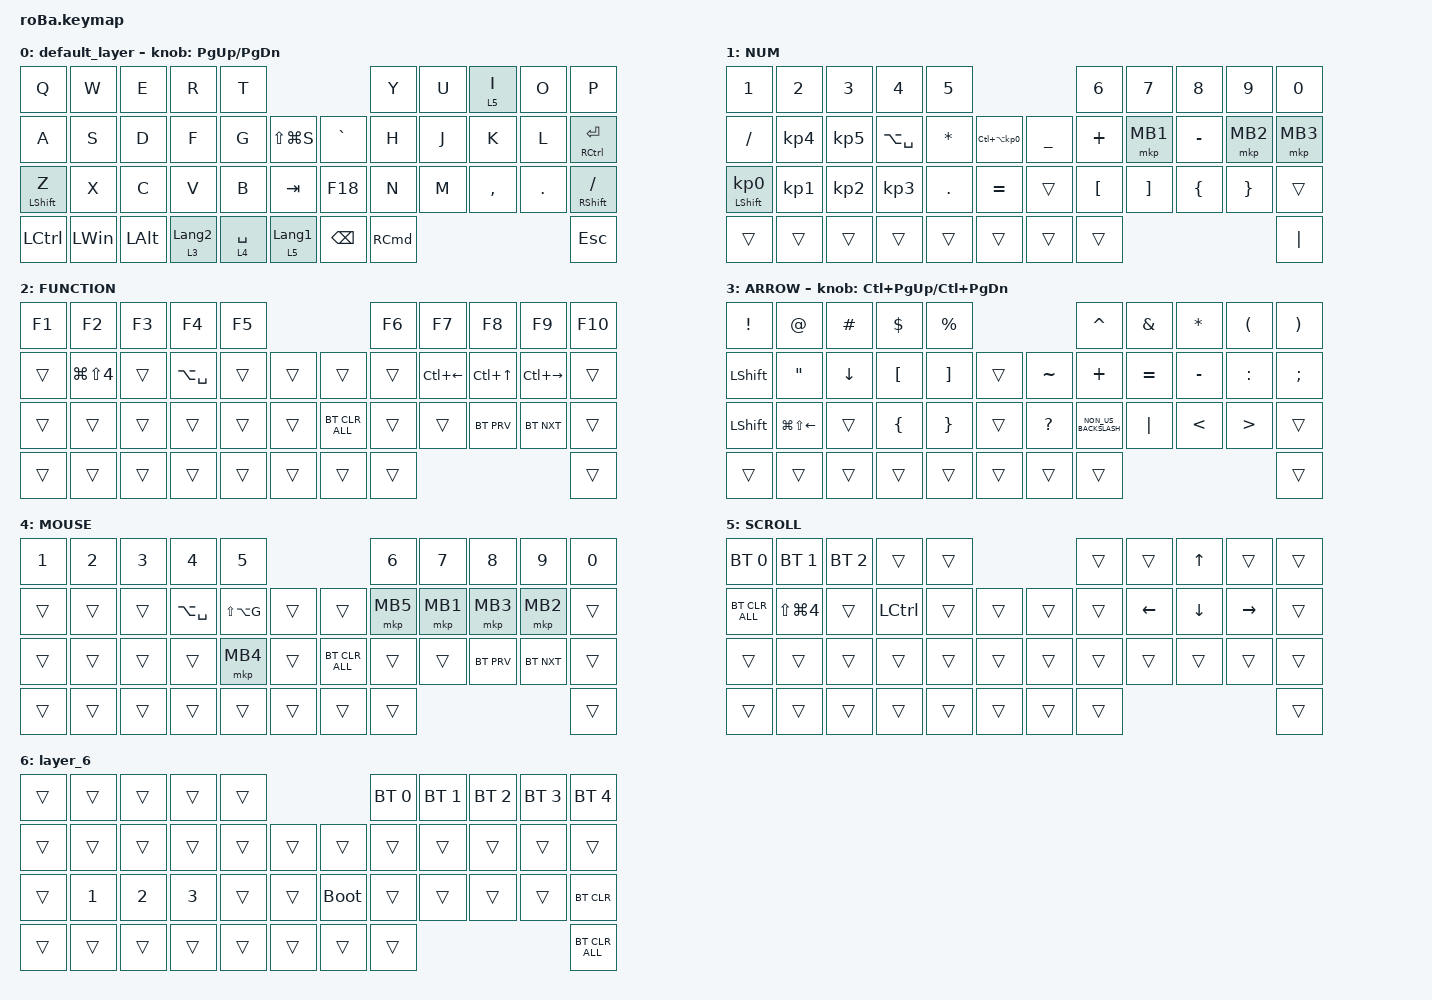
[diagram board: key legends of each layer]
#include <behaviors.dtsi>
#include <dt-bindings/zmk/bt.h>
#include <dt-bindings/zmk/keys.h>
#include <dt-bindings/zmk/pointing.h>

#define MOUSE 4
#define SCROLL 5
#define NUM 6

&mt {
    flavor = "balanced";
    quick-tap-ms = <0>;
};

/ {
    combos { compatible = "zmk,combos"; };

    macros {
        to_layer_0: to_layer_0 {
            compatible = "zmk,behavior-macro-one-param";
            #binding-cells = <1>;
            bindings = <&to 0 &macro_param_1to1 &kp MACRO_PLACEHOLDER>;
            label = "TO_LAYER_0";
        };
    };

    behaviors {
        lt_to_layer_0: lt_to_layer_0 {
            compatible = "zmk,behavior-hold-tap";
            label = "LAYER_TAP_TO_0";
            bindings = <&mo>, <&to_layer_0>;

            #binding-cells = <2>;
            tapping-term-ms = <200>;
        };
    };

    keymap {
        compatible = "zmk,keymap";

        default_layer {
            bindings = <
&kp Q             &kp W         &kp E         &kp R             &kp T                                             &kp Y              &kp U  &lt 5 I    &kp O    &kp P
&kp A             &kp S         &kp D         &kp F             &kp G        &kp LS(LG(S))         &kp GRAVE      &kp H              &kp J  &kp K      &kp L    &mt RIGHT_CONTROL ENTER
&mt LEFT_SHIFT Z  &kp X         &kp C         &kp V             &kp B        &kp TAB               &kp F18        &kp N              &kp M  &kp COMMA  &kp DOT  &mt RIGHT_SHIFT SLASH
&kp LCTRL         &kp LEFT_WIN  &kp LEFT_ALT  &lt 3 LANGUAGE_2  &lt 4 SPACE  &lt 5 LANGUAGE_1      &kp BACKSPACE  &kp RIGHT_COMMAND                             &kp ESC
            >;

            sensor-bindings = <&inc_dec_kp PAGE_UP PAGE_DOWN>;
        };

        NUM {
            bindings = <
&kp NUMBER_1                &kp NUMBER_2     &kp NUMBER_3     &kp NUMBER_4     &kp NUMBER_5                                               &kp NUMBER_6      &kp NUMBER_7       &kp NUMBER_8    &kp NUMBER_9     &kp NUMBER_0
&kp SLASH                   &kp KP_NUMBER_4  &kp KP_NUMBER_5  &kp LA(SPACE)    &kp ASTERISK  &kp LC(LA(KP_NUMBER_0))      &kp UNDERSCORE  &kp PLUS          &mkp MB1           &kp MINUS       &mkp MB2         &mkp MB3
&mt LEFT_SHIFT KP_NUMBER_0  &kp KP_NUMBER_1  &kp KP_NUMBER_2  &kp KP_NUMBER_3  &kp PERIOD    &kp EQUAL                    &trans          &kp LEFT_BRACKET  &kp RIGHT_BRACKET  &kp LEFT_BRACE  &kp RIGHT_BRACE  &trans
&trans                      &trans           &trans           &trans           &trans        &trans                       &trans          &trans                                                                &kp PIPE
            >;
        };

        FUNCTION {
            bindings = <
&kp F1  &kp F2                &kp F3  &kp F4         &kp F5                              &kp F6  &kp F7              &kp F8            &kp F9         &kp F10
&trans  &kp LG(LS(NUMBER_4))  &trans  &kp LA(SPACE)  &trans  &trans      &trans          &trans  &kp LC(LEFT_ARROW)  &kp LC(UP_ARROW)  &kp LC(RIGHT)  &trans
&trans  &trans                &trans  &trans         &trans  &trans      &bt BT_CLR_ALL  &trans  &trans              &bt BT_PRV        &bt BT_NXT     &trans
&trans  &trans                &trans  &trans         &trans  &trans      &trans          &trans                                                       &trans
            >;
        };

        ARROW {
            bindings = <
&kp EXCLAMATION  &kp AT_SIGN             &kp HASH        &kp DOLLAR        &kp PRCNT                                    &kp CARET             &kp AMPERSAND  &kp ASTERISK   &kp LEFT_PARENTHESIS  &kp RIGHT_PARENTHESIS
&kp LEFT_SHIFT   &kp DOUBLE_QUOTES       &kp DOWN_ARROW  &kp LEFT_BRACKET  &kp RIGHT_BRACKET  &trans      &kp TILDE     &kp PLUS              &kp EQUAL      &kp MINUS      &kp COLON             &kp SEMI
&kp LEFT_SHIFT   &kp LG(LS(LEFT_ARROW))  &trans          &kp LEFT_BRACE    &kp RIGHT_BRACE    &trans      &kp QUESTION  &kp NON_US_BACKSLASH  &kp PIPE       &kp LESS_THAN  &kp GREATER_THAN      &trans
&trans           &trans                  &trans          &trans            &trans             &trans      &trans        &trans                                                                    &trans
            >;

            sensor-bindings = <&inc_dec_kp LC(PAGE_UP) LC(PAGE_DOWN)>;
        };

        MOUSE {
            bindings = <
&kp NUMBER_1  &kp NUMBER_2  &kp NUMBER_3  &kp NUMBER_4   &kp NUMBER_5                               &kp NUMBER_6  &kp NUMBER_7  &kp NUMBER_8  &kp NUMBER_9  &kp NUMBER_0
&trans        &trans        &trans        &kp LA(SPACE)  &kp LS(LA(G))  &trans      &trans          &mkp MB5      &mkp MB1      &mkp MB3      &mkp MB2      &trans
&trans        &trans        &trans        &trans         &mkp MB4       &trans      &bt BT_CLR_ALL  &trans        &trans        &bt BT_PRV    &bt BT_NXT    &trans
&trans        &trans        &trans        &trans         &trans         &trans      &trans          &trans                                                  &trans
            >;
        };

        SCROLL {
            bindings = <
&bt BT_SEL 0    &bt BT_SEL 1          &bt BT_SEL 2  &trans            &trans                      &trans  &trans    &kp UP    &trans     &trans
&bt BT_CLR_ALL  &kp LS(LG(NUMBER_4))  &trans        &kp LEFT_CONTROL  &trans  &trans      &trans  &trans  &kp LEFT  &kp DOWN  &kp RIGHT  &trans
&trans          &trans                &trans        &trans            &trans  &trans      &trans  &trans  &trans    &trans    &trans     &trans
&trans          &trans                &trans        &trans            &trans  &trans      &trans  &trans                                 &trans
            >;
        };

        layer_6 {
            bindings = <
&trans  &trans        &trans        &trans        &trans                           &bt BT_SEL 0  &bt BT_SEL 1  &bt BT_SEL 2  &bt BT_SEL 3  &bt BT_SEL 4
&trans  &trans        &trans        &trans        &trans  &trans      &trans       &trans        &trans        &trans        &trans        &trans
&trans  &kp NUMBER_1  &kp NUMBER_2  &kp NUMBER_3  &trans  &trans      &bootloader  &trans        &trans        &trans        &trans        &bt BT_CLR
&trans  &trans        &trans        &trans        &trans  &trans      &trans       &trans                                                  &bt BT_CLR_ALL
            >;
        };
    };
};
